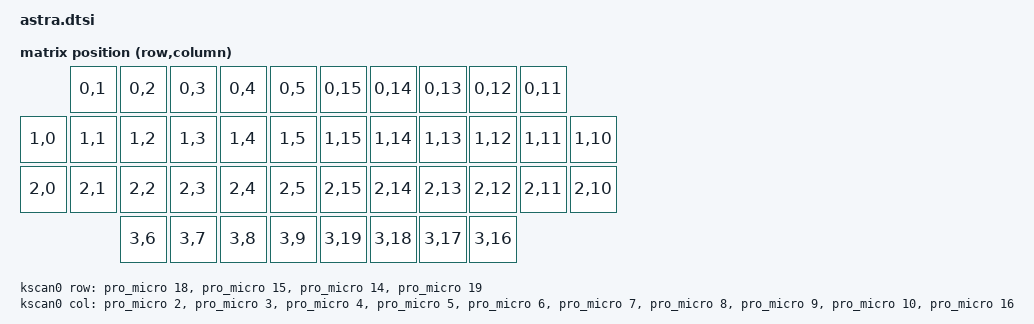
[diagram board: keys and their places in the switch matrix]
#include <zephyr/dt-bindings/gpio/gpio.h>
#include <dt-bindings/zmk/matrix_transform.h>

/ {
    kscan0: kscan0 {
        compatible = "zmk,kscan-gpio-matrix";
        diode-direction = "row2col";
        wakeup-source;

        row-gpios =
            <&pro_micro 18 GPIO_ACTIVE_HIGH>, // row_top
            <&pro_micro 15 GPIO_ACTIVE_HIGH>, // row_home
            <&pro_micro 14 GPIO_ACTIVE_HIGH>, // row_bottom
            <&pro_micro 19 GPIO_ACTIVE_HIGH>; // row_thumb

        col-gpios =
            <&pro_micro 2 (GPIO_ACTIVE_HIGH | GPIO_PULL_DOWN)>,  // col_outer
            <&pro_micro 3 (GPIO_ACTIVE_HIGH | GPIO_PULL_DOWN)>,  // col_pinky
            <&pro_micro 4 (GPIO_ACTIVE_HIGH | GPIO_PULL_DOWN)>,  // col_ring
            <&pro_micro 5 (GPIO_ACTIVE_HIGH | GPIO_PULL_DOWN)>,  // col_middle
            <&pro_micro 6 (GPIO_ACTIVE_HIGH | GPIO_PULL_DOWN)>,  // col_index
            <&pro_micro 7 (GPIO_ACTIVE_HIGH | GPIO_PULL_DOWN)>,  // col_inner
            <&pro_micro 8 (GPIO_ACTIVE_HIGH | GPIO_PULL_DOWN)>,  // col_thumb_one
            <&pro_micro 9 (GPIO_ACTIVE_HIGH | GPIO_PULL_DOWN)>,  // col_thumb_two
            <&pro_micro 10 (GPIO_ACTIVE_HIGH | GPIO_PULL_DOWN)>, // col_thumb_three
            <&pro_micro 16 (GPIO_ACTIVE_HIGH | GPIO_PULL_DOWN)>; // col_thumb_four
    };

    default_transform: keymap_transform0 {
        compatible = "zmk,matrix-transform";
        
        rows = <4>;
        columns = <22>;

        map = <
        // Row 0: upper finger keys
                     RC(0, 1) RC(0, 2) RC(0, 3) RC(0, 4) RC(0, 5)    RC(0, 15) RC(0, 14) RC(0, 13) RC(0, 12) RC(0, 11)
        // Row 1: home finger keys
            RC(1, 0) RC(1, 1) RC(1, 2) RC(1, 3) RC(1, 4) RC(1, 5)    RC(1, 15) RC(1, 14) RC(1, 13) RC(1, 12) RC(1, 11) RC(1, 10)
        // Row 2: lower finger keys
            RC(2, 0) RC(2, 1) RC(2, 2) RC(2, 3) RC(2, 4) RC(2, 5)    RC(2, 15) RC(2, 14) RC(2, 13) RC(2, 12) RC(2, 11) RC(2, 10)
        // Row 3: thumb keys
                              RC(3, 6) RC(3, 7) RC(3, 8) RC(3, 9)    RC(3, 19) RC(3, 18) RC(3, 17) RC(3, 16)
        >;
    };

    physical_layout0: physical_layout_0 {
        compatible = "zmk,physical-layout";
        display-name = "Default Layout";
        kscan = <&kscan0>;
        transform = <&default_transform>;
    };

    chosen {
        zmk,physical-layout = <&physical_layout0>;
    };
};
